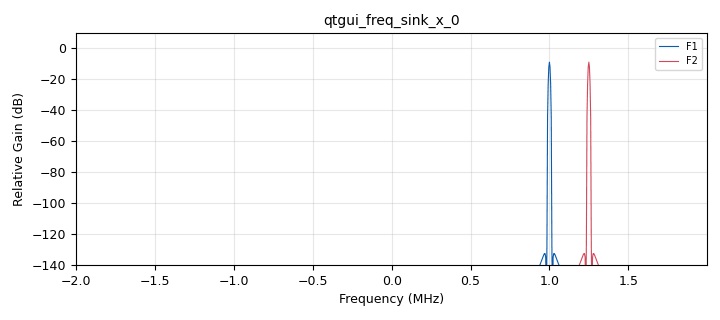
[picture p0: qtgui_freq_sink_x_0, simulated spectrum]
options:
  parameters:
    author: Ben Cometto
    generate_options: qt_gui
    id: radio_test
    output_language: python
    title: USRP B210 Radio Test
  states: {}

blocks:
- name: samp_rate
  id: variable
  parameters:
    value: 4e6
  states: {}
- name: analog_sig_source_x_0
  id: analog_sig_source_x
  parameters:
    amp: '1'
    freq: 1e6
    offset: '0'
    phase: '0'
    samp_rate: samp_rate
    type: complex
    waveform: analog.GR_COS_WAVE
  states: {}
- name: analog_sig_source_x_0_0
  id: analog_sig_source_x
  parameters:
    amp: '1'
    freq: 1.25e6
    offset: '0'
    phase: '0'
    samp_rate: samp_rate
    type: complex
    waveform: analog.GR_COS_WAVE
  states: {}
- name: qtgui_freq_sink_x_0
  id: qtgui_freq_sink_x
  parameters:
    bw: samp_rate
    ctrlpanel: 'True'
    fc: '0'
    fftsize: '1024'
    label1: F1
    label2: F2
    nconnections: '2'
    type: complex
  states: {}
- name: qtgui_freq_sink_x_0_0
  id: qtgui_freq_sink_x
  parameters:
    bw: samp_rate
    fc: '0'
    fftsize: '1024'
    type: complex
  states: {}
- name: uhd_usrp_sink_0
  id: uhd_usrp_sink
  parameters:
    ant0: '"TX/RX"'
    center_freq0: 1e9
    gain0: '5'
    samp_rate: samp_rate
    sd_spec0: A:A
    sync: sync
    type: fc32
  states: {}
- name: uhd_usrp_sink_0_0
  id: uhd_usrp_sink
  parameters:
    ant0: '"TX/RX"'
    center_freq0: 1e9
    gain0: '5'
    samp_rate: samp_rate
    sd_spec0: A:B
    sync: sync
    type: fc32
  states: {}
- name: uhd_usrp_source_0
  id: uhd_usrp_source
  parameters:
    ant0: '"RX2"'
    center_freq0: 1e9
    gain0: '40'
    samp_rate: samp_rate
    sd_spec0: A:B
    sync: sync
    type: fc32
  states: {}

connections:
- [analog_sig_source_x_0, '0', qtgui_freq_sink_x_0, '0']
- [analog_sig_source_x_0, '0', uhd_usrp_sink_0, '0']
- [analog_sig_source_x_0_0, '0', qtgui_freq_sink_x_0, '1']
- [analog_sig_source_x_0_0, '0', uhd_usrp_sink_0_0, '0']
- [uhd_usrp_source_0, '0', qtgui_freq_sink_x_0_0, '0']

metadata:
  file_format: 1
  grc_version: 3.10.10.0
